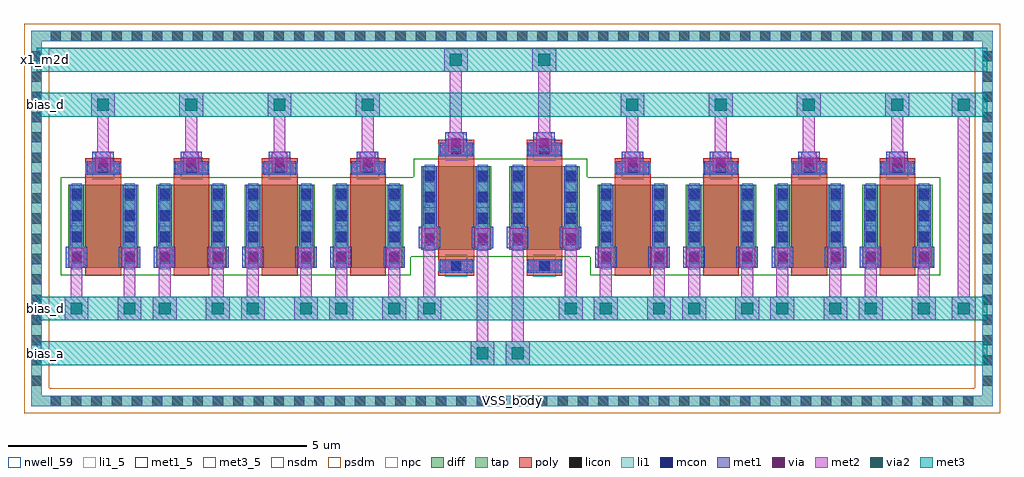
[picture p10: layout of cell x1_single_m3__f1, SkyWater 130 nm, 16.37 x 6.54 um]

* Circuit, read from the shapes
.subckt x1_single_m3__f1 VSS_body bias_a bias_d x1_m2d
XM1 bias_d bias_d bias_d VSS_body sky130_fd_pr__nfet_01v8 w=1.4 l=0.6 m=8
XM2 bias_a x1_m2d bias_d VSS_body sky130_fd_pr__nfet_01v8 w=1.4 l=0.6 m=2
.ends

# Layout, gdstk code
from math import pi, radians
import gdstk
lib = gdstk.Library(unit=1e-6, precision=1e-09)
def R(c, l, rs):  # rectangles x0, y0, x1, y1
    for r in rs: c.add(gdstk.rectangle(r[:2], r[2:], *l))
def A(c, l, x, y, w, h, nx, ny, dx, dy):  # array of equal rectangles
    R(c, l, [(x+i*dx, y+j*dy, x+i*dx+w, y+j*dy+h) for i in range(nx) for j in range(ny)])
nwell_59 = (64, 59)
diff = (65, 20)
tap = (65, 44)
poly = (66, 20)
licon = (66, 44)
li1_5 = (67, 5)
li1 = (67, 20)
mcon = (67, 44)
met1_5 = (68, 5)
met1 = (68, 20)
via = (68, 44)
met2 = (69, 20)
via2 = (69, 44)
met3_5 = (70, 5)
met3 = (70, 20)
nsdm = (93, 44)
psdm = (94, 20)
npc = (95, 20)

sky130_fd_pr__nfet_01v8_ = lib.new_cell('sky130_fd_pr__nfet_01v8_KCM6UP')
R(sky130_fd_pr__nfet_01v8_, diff, [(-0.59,-0.7,0.59,0.7)])
R(sky130_fd_pr__nfet_01v8_, poly, [(-0.3,-1.14,0.3,1.14)])
A(sky130_fd_pr__nfet_01v8_, licon, -0.53, -0.595, 0.17, 0.17, 1, 4, 0, 0.34)
A(sky130_fd_pr__nfet_01v8_, licon, 0.36, -0.595, 0.17, 0.17, 1, 4, 0, 0.34)
R(sky130_fd_pr__nfet_01v8_, licon, [(-0.085,-1.06,0.085,-0.89), (-0.085,0.89,0.085,1.06)])
R(sky130_fd_pr__nfet_01v8_, li1, [(-0.3,-1.06,0.3,-0.89), (-0.53,-0.72,-0.36,0.72), (0.36,-0.72,0.53,0.72), (-0.3,0.89,0.3,1.06)])
A(sky130_fd_pr__nfet_01v8_, mcon, -0.53, -0.625, 0.17, 0.17, 1, 4, 0, 0.36)
A(sky130_fd_pr__nfet_01v8_, mcon, 0.36, -0.625, 0.17, 0.17, 1, 4, 0, 0.36)
R(sky130_fd_pr__nfet_01v8_, mcon, [(-0.085,-1.06,0.085,-0.89), (-0.085,0.89,0.085,1.06)])
R(sky130_fd_pr__nfet_01v8_, met1, [(-0.28,-1.09,0.28,-0.86), (-0.56,-0.7,-0.33,0.7), (0.33,-0.7,0.56,0.7), (-0.28,0.86,0.28,1.09)])
R(sky130_fd_pr__nfet_01v8_, nsdm, [(-0.715,-0.825,0.715,0.825)])
R(sky130_fd_pr__nfet_01v8_, npc, [(-0.185,-1.16,0.185,-0.79), (-0.185,0.79,0.185,1.16)])
sky130_fd_pr__nfet_01v8_.add(gdstk.Label('D', (-0.445,0), layer=67, texttype=5))
sky130_fd_pr__nfet_01v8_.add(gdstk.Label('S', (0.445,0), layer=67, texttype=5))
sky130_fd_pr__nfet_01v8_.add(gdstk.Label('G', (0,0.975), layer=67, texttype=5))

nfet_01v8_w1p4_l0p6_m2__ = lib.new_cell('nfet_01v8_W1p4_L0p6_m2__nf1_gboth_sdfull_ng')
R(nfet_01v8_w1p4_l0p6_m2__, nwell_59, [(0.05,1.09,0.15,1.19)])
R(nfet_01v8_w1p4_l0p6_m2__, met1_5, [(0.03,1.14,0.26,1.34), (0.92,1.14,1.15,1.34), (0.31,2,0.87,2.23)])
R(nfet_01v8_w1p4_l0p6_m2__, met1, [(0.03,1.14,0.26,1.34), (0.92,1.14,1.15,1.34), (0.31,2,0.87,2.23)])
nfet_01v8_w1p4_l0p6_m2__.add(gdstk.Reference(sky130_fd_pr__nfet_01v8_, (0.59,1.14)))
nfet_01v8_w1p4_l0p6_m2__.add(gdstk.Label('D', (0.145,1.24), layer=68, texttype=5))
nfet_01v8_w1p4_l0p6_m2__.add(gdstk.Label('S', (1.035,1.24), layer=68, texttype=5))
nfet_01v8_w1p4_l0p6_m2__.add(gdstk.Label('G', (0.59,2.115), layer=68, texttype=5))
nfet_01v8_w1p4_l0p6_m2__.add(gdstk.Label('B', (0.1,1.14), layer=64, texttype=59))

c_sky130_fd_pr__nfet_01v8_ = lib.new_cell('sky130_fd_pr__nfet_01v8_RUA5M6')
R(c_sky130_fd_pr__nfet_01v8_, diff, [(-0.59,-0.855,0.59,0.545)])
R(c_sky130_fd_pr__nfet_01v8_, poly, [(-0.3,-0.985,0.3,0.985)])
A(c_sky130_fd_pr__nfet_01v8_, licon, -0.53, -0.75, 0.17, 0.17, 1, 4, 0, 0.34)
A(c_sky130_fd_pr__nfet_01v8_, licon, 0.36, -0.75, 0.17, 0.17, 1, 4, 0, 0.34)
R(c_sky130_fd_pr__nfet_01v8_, licon, [(-0.085,0.735,0.085,0.905)])
R(c_sky130_fd_pr__nfet_01v8_, li1, [(-0.53,-0.875,-0.36,0.565), (0.36,-0.875,0.53,0.565), (-0.3,0.735,0.3,0.905)])
A(c_sky130_fd_pr__nfet_01v8_, mcon, -0.53, -0.78, 0.17, 0.17, 1, 4, 0, 0.36)
A(c_sky130_fd_pr__nfet_01v8_, mcon, 0.36, -0.78, 0.17, 0.17, 1, 4, 0, 0.36)
R(c_sky130_fd_pr__nfet_01v8_, mcon, [(-0.085,0.735,0.085,0.905)])
R(c_sky130_fd_pr__nfet_01v8_, met1, [(-0.56,-0.855,-0.33,0.545), (0.33,-0.855,0.56,0.545), (-0.28,0.705,0.28,0.935)])
R(c_sky130_fd_pr__nfet_01v8_, nsdm, [(-0.715,-0.98,0.715,0.67)])
R(c_sky130_fd_pr__nfet_01v8_, npc, [(-0.185,0.635,0.185,1.005)])
c_sky130_fd_pr__nfet_01v8_.add(gdstk.Label('D', (-0.445,-0.155), layer=67, texttype=5))
c_sky130_fd_pr__nfet_01v8_.add(gdstk.Label('S', (0.445,-0.155), layer=67, texttype=5))
c_sky130_fd_pr__nfet_01v8_.add(gdstk.Label('G', (0,0.82), layer=67, texttype=5))

nfet_01v8_w1p4_l0p6_m8__ = lib.new_cell('nfet_01v8_W1p4_L0p6_m8__nf1_gtop_sdfull_ng')
R(nfet_01v8_w1p4_l0p6_m8__, nwell_59, [(0.05,0.78,0.15,0.88)])
R(nfet_01v8_w1p4_l0p6_m8__, met1_5, [(0.03,0.83,0.26,1.03), (0.92,0.83,1.15,1.03), (0.31,1.69,0.87,1.92)])
R(nfet_01v8_w1p4_l0p6_m8__, met1, [(0.03,0.83,0.26,1.03), (0.92,0.83,1.15,1.03), (0.31,1.69,0.87,1.92)])
nfet_01v8_w1p4_l0p6_m8__.add(gdstk.Reference(c_sky130_fd_pr__nfet_01v8_, (0.59,0.985)))
nfet_01v8_w1p4_l0p6_m8__.add(gdstk.Label('D', (0.145,0.93), layer=68, texttype=5))
nfet_01v8_w1p4_l0p6_m8__.add(gdstk.Label('S', (1.035,0.93), layer=68, texttype=5))
nfet_01v8_w1p4_l0p6_m8__.add(gdstk.Label('G', (0.59,1.805), layer=68, texttype=5))
nfet_01v8_w1p4_l0p6_m8__.add(gdstk.Label('B', (0.1,0.83), layer=64, texttype=59))

x1_single_m3__f1 = lib.new_cell('x1_single_m3__f1')
R(x1_single_m3__f1, tap, [(-0.485,-2.185,15.635,-2.015), (-0.485,-2.015,-0.315,3.935), (15.465,-2.015,15.635,3.935), (-0.485,3.935,15.635,4.105)])
A(x1_single_m3__f1, licon, -0.16, -2.185, 0.17, 0.17, 46, 2, 0.34, 6.12)
A(x1_single_m3__f1, licon, -0.485, -1.845, 0.17, 0.17, 1, 17, 0, 0.34)
A(x1_single_m3__f1, licon, 15.465, -1.845, 0.17, 0.17, 1, 17, 0, 0.34)
R(x1_single_m3__f1, li1_5, [(7.525,-2.15,7.625,-2.05)])
R(x1_single_m3__f1, li1, [(-0.485,-2.185,15.635,-2.015), (-0.485,-2.015,-0.315,3.935), (15.465,-2.015,15.635,3.935), (-0.485,3.935,15.635,4.105)])
A(x1_single_m3__f1, met1, 0.535, 1.72, 0.36, 0.36, 4, 1, 1.48, 0)
A(x1_single_m3__f1, met1, 9.415, 1.72, 0.36, 0.36, 4, 1, 1.48, 0)
R(x1_single_m3__f1, met1, [(0.09,0.13,0.45,0.49), (0.98,0.13,1.34,0.49), (1.57,0.13,1.93,0.49), (2.46,0.13,2.82,0.49), (3.05,0.13,3.41,0.49), (3.94,0.13,4.3,0.49), (4.53,0.13,4.89,0.49), (5.42,0.13,5.78,0.49), (8.97,0.13,9.33,0.49), (9.86,0.13,10.22,0.49), (10.45,0.13,10.81,0.49), (11.34,0.13,11.7,0.49), (11.93,0.13,12.29,0.49), (12.82,0.13,13.18,0.49), (13.41,0.13,13.77,0.49), (14.3,0.13,14.66,0.49), (6.01,0.46,6.37,0.82), (6.9,0.46,7.26,0.82), (7.49,0.46,7.85,0.82), (8.38,0.46,8.74,0.82), (6.455,2.05,6.815,2.41), (7.935,2.05,8.295,2.41)])
A(x1_single_m3__f1, via, 0.64, 1.825, 0.15, 0.15, 4, 1, 1.48, 0)
A(x1_single_m3__f1, via, 9.52, 1.825, 0.15, 0.15, 4, 1, 1.48, 0)
R(x1_single_m3__f1, via, [(0.195,0.235,0.345,0.385), (1.085,0.235,1.235,0.385), (1.675,0.235,1.825,0.385), (2.565,0.235,2.715,0.385), (3.155,0.235,3.305,0.385), (4.045,0.235,4.195,0.385), (4.635,0.235,4.785,0.385), (5.525,0.235,5.675,0.385), (9.075,0.235,9.225,0.385), (9.965,0.235,10.115,0.385), (10.555,0.235,10.705,0.385), (11.445,0.235,11.595,0.385), (12.035,0.235,12.185,0.385), (12.925,0.235,13.075,0.385), (13.515,0.235,13.665,0.385), (14.405,0.235,14.555,0.385), (6.115,0.565,6.265,0.715), (7.005,0.565,7.155,0.715), (7.595,0.565,7.745,0.715), (8.485,0.565,8.635,0.715), (6.56,2.155,6.71,2.305), (8.04,2.155,8.19,2.305)])
A(x1_single_m3__f1, met2, 0.585, 1.74, 0.26, 0.32, 4, 1, 1.48, 0)
A(x1_single_m3__f1, met2, 9.465, 1.74, 0.26, 0.32, 4, 1, 1.48, 0)
A(x1_single_m3__f1, met2, 0.615, 2.06, 0.2, 0.61, 4, 1, 1.48, 0)
A(x1_single_m3__f1, met2, 9.495, 2.06, 0.2, 0.61, 4, 1, 1.48, 0)
A(x1_single_m3__f1, met2, 0.515, 2.67, 0.4, 0.4, 4, 1, 1.48, 0)
A(x1_single_m3__f1, met2, 9.395, 2.67, 0.4, 0.4, 4, 1, 1.48, 0)
R(x1_single_m3__f1, met2, [(6.88,-1.5,7.28,-1.1), (7.47,-1.5,7.87,-1.1), (6.98,-1.1,7.18,0.48), (7.57,-1.1,7.77,0.48), (0.07,-0.75,0.47,-0.35), (0.96,-0.75,1.36,-0.35), (1.55,-0.75,1.95,-0.35), (2.44,-0.75,2.84,-0.35), (3.03,-0.75,3.43,-0.35), (3.92,-0.75,4.32,-0.35), (4.51,-0.75,4.91,-0.35), (5.4,-0.75,5.8,-0.35), (5.99,-0.75,6.39,-0.35), (8.36,-0.75,8.76,-0.35), (8.95,-0.75,9.35,-0.35), (9.84,-0.75,10.24,-0.35), (10.43,-0.75,10.83,-0.35), (11.32,-0.75,11.72,-0.35), (11.91,-0.75,12.31,-0.35), (12.8,-0.75,13.2,-0.35), (13.39,-0.75,13.79,-0.35), (14.28,-0.75,14.68,-0.35), (14.95,-0.75,15.35,-0.35), (0.17,-0.35,0.37,0.15), (1.06,-0.35,1.26,0.15), (1.65,-0.35,1.85,0.15), (2.54,-0.35,2.74,0.15), (3.13,-0.35,3.33,0.15), (4.02,-0.35,4.22,0.15), (4.61,-0.35,4.81,0.15), (5.5,-0.35,5.7,0.15), (6.09,-0.35,6.29,0.48), (8.46,-0.35,8.66,0.48), (9.05,-0.35,9.25,0.15), (9.94,-0.35,10.14,0.15), (10.53,-0.35,10.73,0.15), (11.42,-0.35,11.62,0.15), (12.01,-0.35,12.21,0.15), (12.9,-0.35,13.1,0.15), (13.49,-0.35,13.69,0.15), (14.38,-0.35,14.58,0.15), (15.05,-0.35,15.25,2.67), (0.14,0.15,0.4,0.47), (1.03,0.15,1.29,0.47), (1.62,0.15,1.88,0.47), (2.51,0.15,2.77,0.47), (3.1,0.15,3.36,0.47), (3.99,0.15,4.25,0.47), (4.58,0.15,4.84,0.47), (5.47,0.15,5.73,0.47), (9.02,0.15,9.28,0.47), (9.91,0.15,10.17,0.47), (10.5,0.15,10.76,0.47), (11.39,0.15,11.65,0.47), (11.98,0.15,12.24,0.47), (12.87,0.15,13.13,0.47), (13.46,0.15,13.72,0.47), (14.35,0.15,14.61,0.47), (6.06,0.48,6.32,0.8), (6.95,0.48,7.21,0.8), (7.54,0.48,7.8,0.8), (8.43,0.48,8.69,0.8), (6.505,2.07,6.765,2.39), (7.985,2.07,8.245,2.39), (6.535,2.39,6.735,3.42), (8.015,2.39,8.215,3.42), (14.95,2.67,15.35,3.07), (6.435,3.42,6.835,3.82), (7.915,3.42,8.315,3.82)])
A(x1_single_m3__f1, via2, 0.615, 2.77, 0.2, 0.2, 4, 1, 1.48, 0)
A(x1_single_m3__f1, via2, 9.495, 2.77, 0.2, 0.2, 4, 1, 1.48, 0)
R(x1_single_m3__f1, via2, [(6.98,-1.4,7.18,-1.2), (7.57,-1.4,7.77,-1.2), (0.17,-0.65,0.37,-0.45), (1.06,-0.65,1.26,-0.45), (1.65,-0.65,1.85,-0.45), (2.54,-0.65,2.74,-0.45), (3.13,-0.65,3.33,-0.45), (4.02,-0.65,4.22,-0.45), (4.61,-0.65,4.81,-0.45), (5.5,-0.65,5.7,-0.45), (6.09,-0.65,6.29,-0.45), (8.46,-0.65,8.66,-0.45), (9.05,-0.65,9.25,-0.45), (9.94,-0.65,10.14,-0.45), (10.53,-0.65,10.73,-0.45), (11.42,-0.65,11.62,-0.45), (12.01,-0.65,12.21,-0.45), (12.9,-0.65,13.1,-0.45), (13.49,-0.65,13.69,-0.45), (14.38,-0.65,14.58,-0.45), (15.05,-0.65,15.25,-0.45), (15.05,2.77,15.25,2.97), (6.535,3.52,6.735,3.72), (8.015,3.52,8.215,3.72)])
R(x1_single_m3__f1, met3_5, [(-0.3,-1.35,-0.2,-1.25), (-0.3,-0.6,-0.2,-0.5), (-0.3,2.82,-0.2,2.92), (-0.3,3.57,-0.2,3.67)])
R(x1_single_m3__f1, met3, [(-0.4,-1.5,15.55,-1.1), (-0.4,-0.75,15.55,-0.35), (-0.4,2.67,15.55,3.07), (-0.4,3.42,15.55,3.82)])
A(x1_single_m3__f1, nsdm, 1.435, 0.005, 0.05, 1.65, 3, 1, 1.48, 0)
A(x1_single_m3__f1, nsdm, 10.315, 0.005, 0.05, 1.65, 3, 1, 1.48, 0)
R(x1_single_m3__f1, nsdm, [(5.875,0.315,5.925,1.655), (7.355,0.315,7.405,1.965), (8.835,0.315,8.885,1.655)])
R(x1_single_m3__f1, psdm, [(-0.61,-2.31,15.76,-1.89), (-0.61,-1.89,-0.19,3.81), (15.34,-1.89,15.76,3.81), (-0.61,3.81,15.76,4.23)])
x1_single_m3__f1.add(gdstk.Reference(nfet_01v8_w1p4_l0p6_m2__, (8.71,0), rotation=pi, x_reflection=True))
x1_single_m3__f1.add(gdstk.Reference(nfet_01v8_w1p4_l0p6_m2__, (6.05,0)))
x1_single_m3__f1.add(gdstk.Reference(nfet_01v8_w1p4_l0p6_m8__, (13.45,0)))
x1_single_m3__f1.add(gdstk.Reference(nfet_01v8_w1p4_l0p6_m8__, (11.97,0)))
x1_single_m3__f1.add(gdstk.Reference(nfet_01v8_w1p4_l0p6_m8__, (10.49,0)))
x1_single_m3__f1.add(gdstk.Reference(nfet_01v8_w1p4_l0p6_m8__, (9.01,0)))
x1_single_m3__f1.add(gdstk.Reference(nfet_01v8_w1p4_l0p6_m8__, (4.57,0)))
x1_single_m3__f1.add(gdstk.Reference(nfet_01v8_w1p4_l0p6_m8__, (3.09,0)))
x1_single_m3__f1.add(gdstk.Reference(nfet_01v8_w1p4_l0p6_m8__, (1.61,0)))
x1_single_m3__f1.add(gdstk.Reference(nfet_01v8_w1p4_l0p6_m8__, (0.13,0)))
x1_single_m3__f1.add(gdstk.Label('bias_d', (-0.25,2.87), layer=70, texttype=5))
x1_single_m3__f1.add(gdstk.Label('x1_m2d', (-0.25,3.62), layer=70, texttype=5))
x1_single_m3__f1.add(gdstk.Label('bias_d', (-0.25,-0.55), layer=70, texttype=5))
x1_single_m3__f1.add(gdstk.Label('bias_a', (-0.25,-1.3), layer=70, texttype=5))
x1_single_m3__f1.add(gdstk.Label('VSS_body', (7.575,-2.1), layer=67, texttype=5))

lib.write_gds('x1_single_m3__f1.gds')
